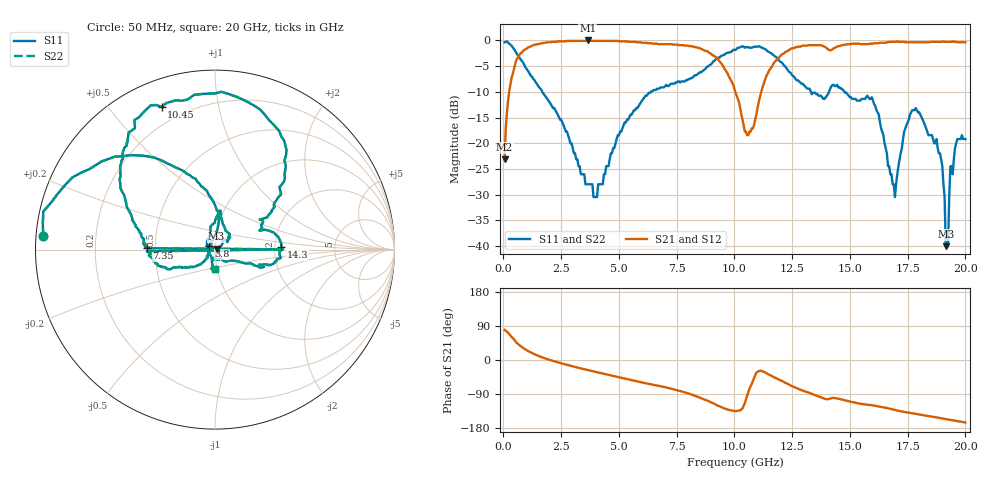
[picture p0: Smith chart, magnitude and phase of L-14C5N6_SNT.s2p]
#	mhz	s	ma	r	50
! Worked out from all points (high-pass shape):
!   400 points, 50 MHz to 20 GHz, reference 50 ohm
!   highest |S21| = 0.00 dB at 3.65 GHz (marker M1); lowest = -23.1 dB at 50 MHz (marker M2)
!   |S21| within 3 dB of the highest: 663.4 MHz to 9.11 GHz (8.447 GHz wide, 173 % of centre); 11.99 GHz to end of sweep
!   lowest |S11| = -40.0 dB at 19.15 GHz (marker M3), VSWR 1.02, Z = 50.8 + j0.557 ohm
!   |S11| at or under -10 dB: 1.684 GHz to 6.381 GHz (4.697 GHz wide, 116 % of centre); 13.31 GHz to 14.09 GHz (781.6 MHz wide, 5.71 % of centre); 14.77 GHz to end of sweep
!   |S22| runs from -40.0 to -0.2 dB; largest |S21 - S12| = 0
!   S11 on the Smith chart (normalised r, x): 50 MHz: 0.02, +0.04; 3.8 GHz: 0.93, +0.04; 7.35 GHz: 0.45, +0.01; 10.45 GHz: 0.12, +0.69; 14.3 GHz: 2.17, +0.08; 20 GHz: 0.98, -0.22
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50  0.96 175.6  0.07 79.5  0.07 79.5  0.96 175.6
700  0.68 129.4  0.73 38.8  0.73 38.8  0.68 129.4
3400  0.05 108.7  0.99 -22.9  0.99 -22.9  0.05 108.7
3650  0.04 134.3  1 -26.3  1 -26.3  0.04 134.3
3800  0.04 150.0  0.99 -28.5  0.99 -28.5  0.04 150.0
6700  0.34 -167.5  0.92 -68.0  0.92 -68.0  0.34 -167.5
7250  0.38 -178.5  0.92 -75.6  0.92 -75.6  0.38 -178.5
7300  0.38 0.2  0.92 -76.3  0.92 -76.3  0.38 0.2
7350  0.38 178.8  0.91 -77.1  0.91 -77.1  0.38 178.8
10050  0.81 123.4  0.31 -135.1  0.31 -135.1  0.81 123.4
10450  0.85 110.5  0.13 -113.7  0.13 -113.7  0.85 110.5
11800  0.69 55.0  0.64 -47.9  0.64 -47.9  0.69 55.0
13350  0.3 33.8  0.9 -89.6  0.9 -89.6  0.3 33.8
14300  0.37 2.4  0.84 -100.2  0.84 -100.2  0.37 2.4
15950  0.28 -20.1  0.93 -119.4  0.93 -119.4  0.28 -20.1
16700  0.06 -74.1  0.97 -127.9  0.97 -127.9  0.06 -74.1
16950  0.03 -164.9  0.97 -131.6  0.97 -131.6  0.03 -164.9
18000  0.2 80.3  0.96 -143.7  0.96 -143.7  0.2 80.3
18900  0.08 41.9  0.97 -153.1  0.97 -153.1  0.08 41.9
19150  0.01 33.2  0.97 -156.0  0.97 -156.0  0.01 33.2
19350  0.06 -99.4  0.97 -158.0  0.97 -158.0  0.06 -99.4
20000  0.11 -89.5  0.96 -164.9  0.96 -164.9  0.11 -89.5
